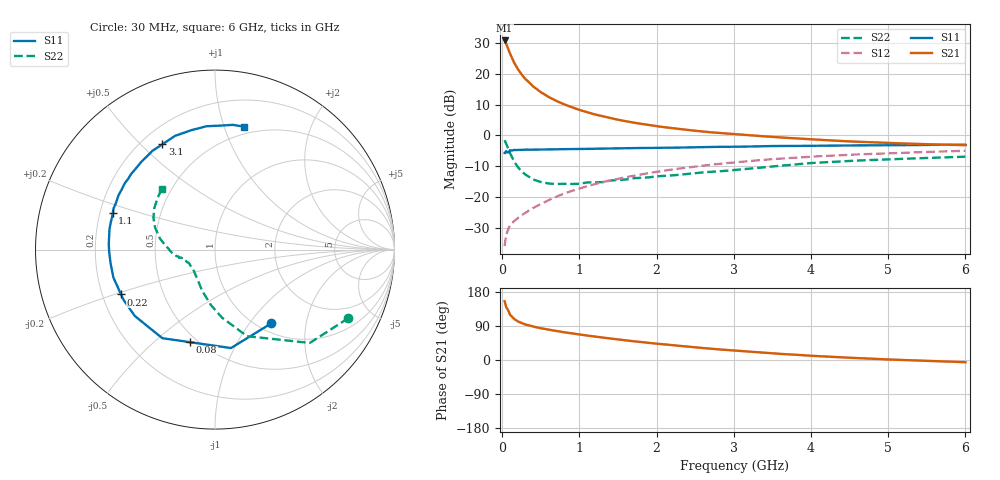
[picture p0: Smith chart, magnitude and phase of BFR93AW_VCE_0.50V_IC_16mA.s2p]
! Infineon Technologies  Discrete & RF Semiconductors
! BFR93AW
! VCE = 0.50 V,  IC =  16 mA
! Common Emitter S-Parameters:  Nov 2015
# GHz  S  MA  R  50
!  f  S11  S21  S12  S22
! GHz  MAG  ANG  MAG  ANG  MAG  ANG  MAG  ANG
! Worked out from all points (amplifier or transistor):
!   206 points, 30 MHz to 6 GHz, reference 50 ohm
!   highest |S21| = 30.8 dB at 30 MHz (marker M1)
!   |S21| within 3 dB of that: start of sweep to 80.47 MHz
!   unconditionally stable (mu >= 1): 478.9 MHz to 3.336 GHz; 4.858 GHz to end of sweep
!   at 200 MHz: K = 0.68, MSG = 24.2 dB, |S12| = -26.9 dB
!   at 1.56 GHz: K = 1.09, MAG = 7.4 dB, |S12| = -13.8 dB
!   at 6 GHz: K = 1.01, MAG = 0.4 dB, |S12| = -5.0 dB
!   S11 on the Smith chart (normalised r, x): 30 MHz: 1.14, -1.28; 80 MHz: 0.46, -0.66; 220 MHz: 0.28, -0.21; 1.1 GHz: 0.25, +0.16; 3.1 GHz: 0.28, +0.58; 6 GHz: 0.43, +1.17
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0.03  0.517 -52.7  34.75 155.1  0.0159 68.7  0.8352 -27.2
0.05  0.5557 -80.8  30.89 139.8  0.0242 60.4  0.7415 -44.5
0.08  0.5344 -105.2  24.69 129.3  0.0305 53.9  0.5907 -57.4
0.1  0.5742 -120.7  21.23 119.1  0.0349 50.9  0.5145 -69.7
0.15  0.5801 -140.4  15.37 108.5  0.0403 48.6  0.3819 -84.0
0.2  0.5815 -151.3  11.98 101.9  0.0454 49.4  0.3081 -94.5
0.22  0.5799 -154.5  11.07 100.2  0.0474 50.3  0.2879 -97.5
0.26  0.5818 -160.4  9.425 96.6  0.0515 51.9  0.2535 -104.0
0.3  0.5871 -164.7  8.206 93.6  0.0555 53.5  0.2313 -109.2
0.4  0.5868 -172.7  6.212 88.1  0.0661 57.0  0.1923 -120.5
0.5  0.5896 -178.5  5.016 83.7  0.0769 59.8  0.175 -129.6
0.6  0.5926 177.3  4.203 80.0  0.0888 61.4  0.1654 -136.1
0.7  0.5944 173.0  3.632 76.4  0.101 62.2  0.1624 -141.6
0.8  0.5988 169.6  3.19 73.2  0.1132 62.8  0.1637 -147.3
1.04  0.602 162.1  2.5 66.2  0.1422 62.6  0.1672 -154.6
1.1  0.6046 160.5  2.368 64.5  0.1496 62.4  0.1721 -156.4
1.5  0.617 150.6  1.793 54.3  0.1973 60.2  0.1882 -163.6
2.02  0.6289 138.2  1.398 42.6  0.2581 55.5  0.2173 -170.3
3.1  0.6557 116.5  1.024 23.5  0.373 43.8  0.2806 174.6
4.1  0.6797 99.6  0.849 10.2  0.458 32.0  0.3612 158.3
5.1  0.6927 86.4  0.747 0.7  0.5174 21.1  0.4132 144.0
6  0.7036 76.7  0.694 -5.8  0.5627 12.5  0.4509 131.0
